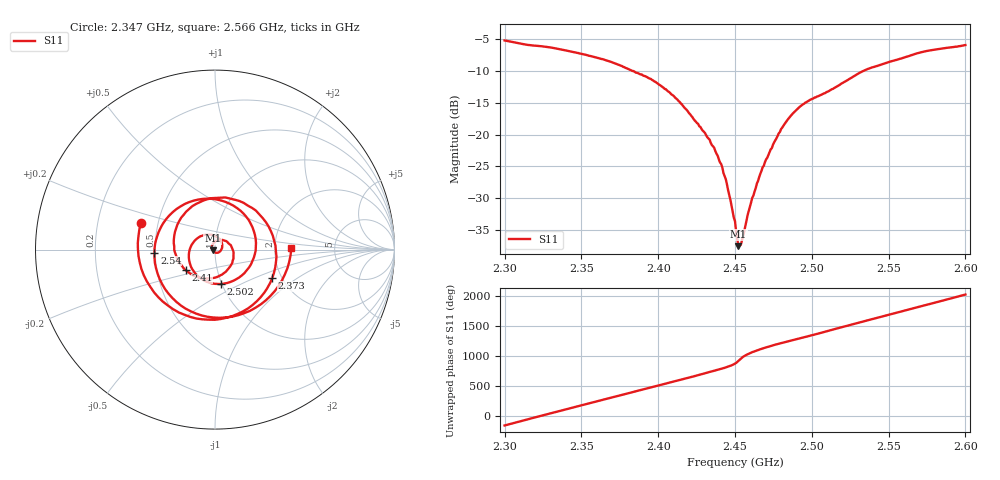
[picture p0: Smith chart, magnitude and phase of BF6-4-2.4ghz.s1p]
! NanoVNA-App
! Date: 2026-06-16 00:34:41
! Start: 2.3GHz Stop: 2.6GHz Points: 401
! S-Parameter data: F S11
# Hz S RI R 50
!  Frequency  S11_Real  S11_Imag
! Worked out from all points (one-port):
!   401 points, 2.3 GHz to 2.6 GHz, reference 50 ohm
!   lowest |S11| = -37.5 dB at 2.452 GHz (marker M1), VSWR 1.03, Z = 48.8 - j0.477 ohm
!   |S11| at or under -10 dB: 2.383 GHz to 2.534 GHz (150.5 MHz wide, 6.12 % of centre)
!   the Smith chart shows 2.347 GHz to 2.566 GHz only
!   S11 on the Smith chart (normalised r, x): 2.347 GHz: 0.40, +0.15; 2.373 GHz: 1.79, -0.65; 2.41 GHz: 0.70, -0.17; 2.502 GHz: 0.99, -0.40; 2.54 GHz: 0.49, -0.02; 2.566 GHz: 2.48, +0.04
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2.3e9  -0.5075 -0.2065
2.3105e9  0.0281 -0.5163
2.321e9  0.4802 -0.1299
2.32775e9  0.4226 0.2417
2.3375e9  -0.04 0.4621
2.34725e9  -0.4108 0.1508
2.36075e9  -0.138 -0.3749
2.3735e9  0.3193 -0.1577
2.375e9  0.3354 -0.0999
2.39e9  0.0354 0.2894
2.4005e9  -0.2166 0.1186
2.41025e9  -0.1634 -0.1154
2.4125e9  -0.1214 -0.1437
2.43725e9  0.0548 0.0494
2.45e9  -0.0192 0.00833
2.45225e9  -0.0124 -0.00489
2.4875e9  -0.1448 -0.0173
2.50175e9  0.0336 -0.1922
2.5145e9  0.2284 0.038
2.525e9  0.0346 0.2734
2.54e9  -0.3378 -0.0163
2.552e9  -0.0408 -0.3744
2.5625e9  0.3733 -0.1713
2.56625e9  0.4252 0.00697
2.57525e9  0.2217 0.3954
2.582e9  -0.1305 0.4496
2.591e9  -0.4724 0.1067
2.6e9  -0.33 -0.381
